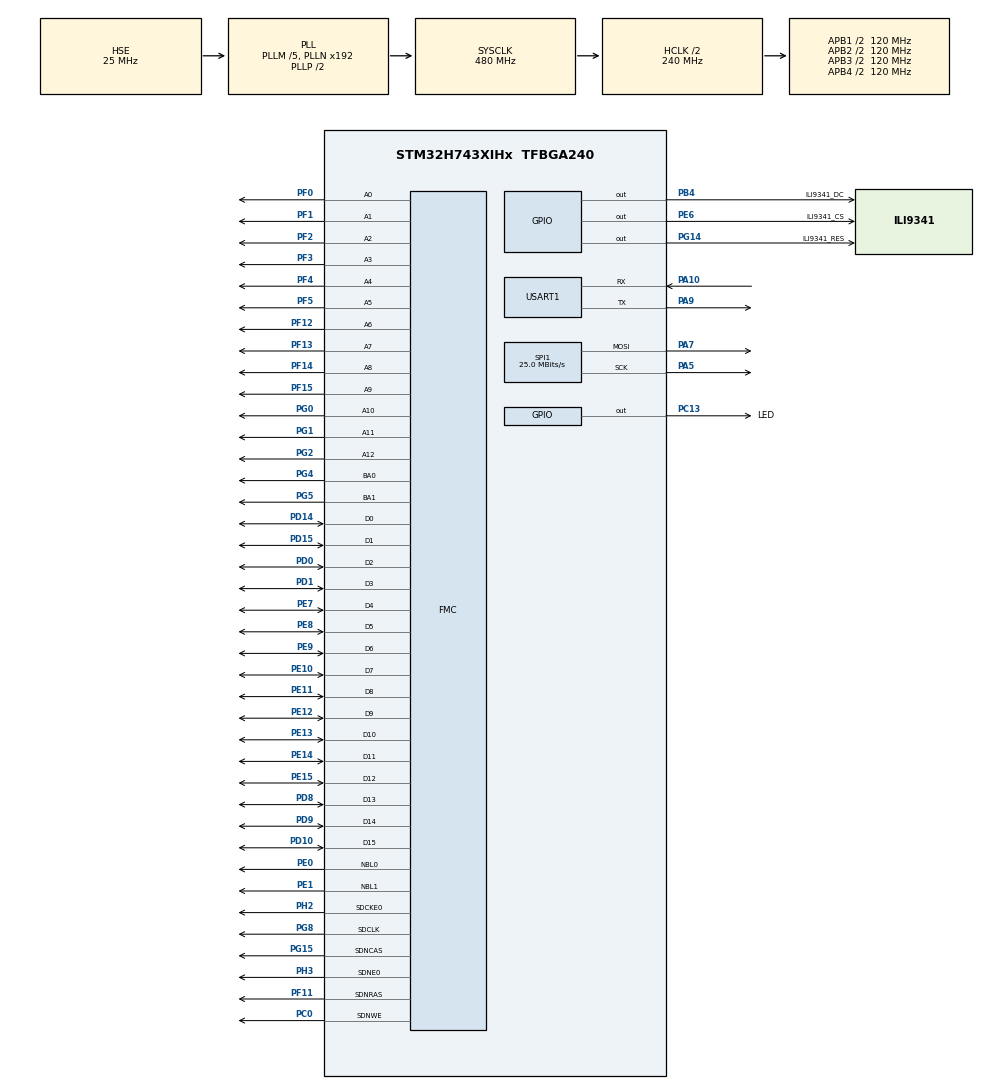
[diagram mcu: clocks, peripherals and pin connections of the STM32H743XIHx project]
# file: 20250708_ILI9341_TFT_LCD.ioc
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CORTEX_M7.AccessPermission_S-Cortex_Memory_Protection_Unit_Region4_Settings_S=MPU_REGION_FULL_ACCESS
CORTEX_M7.BaseAddress_S-Cortex_Memory_Protection_Unit_Region4_Settings_S=0xC0000000
CORTEX_M7.CPU_DCache=Enabled
CORTEX_M7.CPU_ICache=Enabled
CORTEX_M7.DisableExec_S-Cortex_Memory_Protection_Unit_Region4_Settings_S=MPU_INSTRUCTION_ACCESS_DISABLE
CORTEX_M7.Enable_S-Cortex_Memory_Protection_Unit_Region4_Settings_S=MPU_REGION_ENABLE
CORTEX_M7.IsShareable_S-Cortex_Memory_Protection_Unit_Region4_Settings_S=MPU_ACCESS_SHAREABLE
CORTEX_M7.Size_S-Cortex_Memory_Protection_Unit_Region4_Settings_S=MPU_REGION_SIZE_32MB
CORTEX_M7.TypeExtField_S-Cortex_Memory_Protection_Unit_Region4_Settings_S=MPU_TEX_LEVEL1
CORTEX_M7.default_mode_Activation=1
Dma.Request0=SPI1_TX
Dma.SPI1_TX.0.Direction=DMA_MEMORY_TO_PERIPH
Dma.SPI1_TX.0.EventEnable=DISABLE
Dma.SPI1_TX.0.FIFOMode=DMA_FIFOMODE_DISABLE
Dma.SPI1_TX.0.Instance=DMA1_Stream0
Dma.SPI1_TX.0.MemDataAlignment=DMA_MDATAALIGN_BYTE
Dma.SPI1_TX.0.MemInc=DMA_MINC_ENABLE
Dma.SPI1_TX.0.Mode=DMA_NORMAL
Dma.SPI1_TX.0.PeriphDataAlignment=DMA_PDATAALIGN_BYTE
Dma.SPI1_TX.0.PeriphInc=DMA_PINC_DISABLE
Dma.SPI1_TX.0.Polarity=HAL_DMAMUX_REQ_GEN_RISING
Dma.SPI1_TX.0.Priority=DMA_PRIORITY_HIGH
Dma.SPI1_TX.0.RequestNumber=1
Dma.SPI1_TX.0.SignalID=NONE
Dma.SPI1_TX.0.SyncEnable=DISABLE
Dma.SPI1_TX.0.SyncPolarity=HAL_DMAMUX_SYNC_NO_EVENT
Dma.SPI1_TX.0.SyncRequestNumber=1
Dma.SPI1_TX.0.SyncSignalID=NONE
FMC.CASLatency1=FMC_SDRAM_CAS_LATENCY_2
FMC.ColumnBitsNumber1=FMC_SDRAM_COLUMN_BITS_NUM_9
FMC.ExitSelfRefreshDelay1=9
FMC.LoadToActiveDelay1=2
FMC.RCDDelay1=3
FMC.RPDelay1=3
FMC.ReadBurst1=FMC_SDRAM_RBURST_ENABLE
FMC.RowCycleDelay1=8
FMC.SDClockPeriod1=FMC_SDRAM_CLOCK_PERIOD_2
FMC.SelfRefreshTime1=6
FMC.WriteRecoveryTime1=3
Mcu.Family=STM32H7
Mcu.Name=STM32H743XIHx
Mcu.Package=TFBGA240
NVIC.DMA1_Stream0_IRQn=true\:0\:0\:false\:false\:true\:false\:true\:true
NVIC.PriorityGroup=NVIC_PRIORITYGROUP_4
NVIC.SPI1_IRQn=true\:0\:0\:false\:false\:true\:false\:true\:true
PA10.Mode=Asynchronous
PA10.Signal=USART1_RX
PA13\ (JTMS/SWDIO).Mode=Serial_Wire
PA13\ (JTMS/SWDIO).Signal=DEBUG_JTMS-SWDIO
PA14\ (JTCK/SWCLK).Mode=Serial_Wire
PA14\ (JTCK/SWCLK).Signal=DEBUG_JTCK-SWCLK
PA5.Mode=TX_Only_Simplex_Unidirect_Master
PA5.Signal=SPI1_SCK
PA7.Mode=TX_Only_Simplex_Unidirect_Master
PA7.Signal=SPI1_MOSI
PA9.Mode=Asynchronous
PA9.Signal=USART1_TX
PB4\ (NJTRST).GPIO_Label=ILI9341_DC
PB4\ (NJTRST).Signal=GPIO_Output
PC0.Signal=FMC_SDNWE
PC13.GPIO_Label=LED
PC13.Signal=GPIO_Output
PD0.Signal=FMC_D2_DA2
PD1.Signal=FMC_D3_DA3
PD10.Signal=FMC_D15_DA15
PD14.Signal=FMC_D0_DA0
PD15.Signal=FMC_D1_DA1
PD8.Signal=FMC_D13_DA13
PD9.Signal=FMC_D14_DA14
PE0.Signal=FMC_NBL0
PE1.Signal=FMC_NBL1
PE10.Signal=FMC_D7_DA7
PE11.Signal=FMC_D8_DA8
PE12.Signal=FMC_D9_DA9
PE13.Signal=FMC_D10_DA10
PE14.Signal=FMC_D11_DA11
PE15.Signal=FMC_D12_DA12
PE6.GPIO_Label=ILI9341_CS
PE6.Signal=GPIO_Output
PE7.Signal=FMC_D4_DA4
PE8.Signal=FMC_D5_DA5
PE9.Signal=FMC_D6_DA6
PF0.Signal=FMC_A0
PF1.Signal=FMC_A1
PF11.Signal=FMC_SDNRAS
PF12.Signal=FMC_A6
PF13.Signal=FMC_A7
PF14.Signal=FMC_A8
PF15.Signal=FMC_A9
PF2.Signal=FMC_A2
PF3.Signal=FMC_A3
PF4.Signal=FMC_A4
PF5.Signal=FMC_A5
PG0.Signal=FMC_A10
PG1.Signal=FMC_A11
PG14.GPIO_Label=ILI9341_RES
PG14.Signal=GPIO_Output
PG15.Signal=FMC_SDNCAS
PG2.Signal=FMC_A12
PG4.Signal=FMC_A14_BA0
PG5.Signal=FMC_A15_BA1
PG8.Signal=FMC_SDCLK
PH0-OSC_IN\ (PH0).Mode=HSE-External-Oscillator
PH0-OSC_IN\ (PH0).Signal=RCC_OSC_IN
PH1-OSC_OUT\ (PH1).Mode=HSE-External-Oscillator
PH1-OSC_OUT\ (PH1).Signal=RCC_OSC_OUT
PH2.Mode=SdramChipSelect1_1
PH2.Signal=FMC_SDCKE0
PH3.Mode=SdramChipSelect1_1
PH3.Signal=FMC_SDNE0
ProjectManager.HeapSize=0x200
ProjectManager.StackSize=0x400
ProjectManager.TargetToolchain=STM32CubeIDE
RCC.ADCFreq_Value=50390625
RCC.APB1Freq_Value=120000000
RCC.APB2Freq_Value=120000000
RCC.APB3Freq_Value=120000000
RCC.APB4Freq_Value=120000000
RCC.CortexFreq_Value=480000000
RCC.D1PPRE=RCC_APB3_DIV2
RCC.D2PPRE1=RCC_APB1_DIV2
RCC.D2PPRE2=RCC_APB2_DIV2
RCC.D3PPRE=RCC_APB4_DIV2
RCC.DIVM1=5
RCC.DIVM3=25
RCC.DIVN1=192
RCC.DIVN3=200
RCC.HCLKFreq_Value=240000000
RCC.HPRE=RCC_HCLK_DIV2
RCC.PLLFRACN=0
RCC.PLLSourceVirtual=RCC_PLLSOURCE_HSE
RCC.SPI123CLockSelection=RCC_SPI123CLKSOURCE_PLL3
RCC.SYSCLKFreq_VALUE=480000000
RCC.SYSCLKSource=RCC_SYSCLKSOURCE_PLLCLK
RCC.USBFreq_Value=480000000
SH.FMC_A0.0=FMC_A0,13b-sda1
SH.FMC_A1.0=FMC_A1,13b-sda1
SH.FMC_A10.0=FMC_A10,13b-sda1
SH.FMC_A11.0=FMC_A11,13b-sda1
SH.FMC_A12.0=FMC_A12,13b-sda1
SH.FMC_A14_BA0.0=FMC_BA0,FourSdramBanks1
SH.FMC_A15_BA1.0=FMC_BA1,FourSdramBanks1
SH.FMC_A2.0=FMC_A2,13b-sda1
SH.FMC_A3.0=FMC_A3,13b-sda1
SH.FMC_A4.0=FMC_A4,13b-sda1
SH.FMC_A5.0=FMC_A5,13b-sda1
SH.FMC_A6.0=FMC_A6,13b-sda1
SH.FMC_A7.0=FMC_A7,13b-sda1
SH.FMC_A8.0=FMC_A8,13b-sda1
SH.FMC_A9.0=FMC_A9,13b-sda1
SH.FMC_D0_DA0.0=FMC_D0,sd-16b-d1
SH.FMC_D10_DA10.0=FMC_D10,sd-16b-d1
SH.FMC_D11_DA11.0=FMC_D11,sd-16b-d1
SH.FMC_D12_DA12.0=FMC_D12,sd-16b-d1
SH.FMC_D13_DA13.0=FMC_D13,sd-16b-d1
SH.FMC_D14_DA14.0=FMC_D14,sd-16b-d1
SH.FMC_D15_DA15.0=FMC_D15,sd-16b-d1
SH.FMC_D1_DA1.0=FMC_D1,sd-16b-d1
SH.FMC_D2_DA2.0=FMC_D2,sd-16b-d1
SH.FMC_D3_DA3.0=FMC_D3,sd-16b-d1
SH.FMC_D4_DA4.0=FMC_D4,sd-16b-d1
SH.FMC_D5_DA5.0=FMC_D5,sd-16b-d1
SH.FMC_D6_DA6.0=FMC_D6,sd-16b-d1
SH.FMC_D7_DA7.0=FMC_D7,sd-16b-d1
SH.FMC_D8_DA8.0=FMC_D8,sd-16b-d1
SH.FMC_D9_DA9.0=FMC_D9,sd-16b-d1
SH.FMC_NBL0.0=FMC_NBL0,Sd2ByteEnable1
SH.FMC_NBL1.0=FMC_NBL1,Sd2ByteEnable1
SH.FMC_SDCLK.0=FMC_SDCLK,13b-sda1
SH.FMC_SDNCAS.0=FMC_SDNCAS,13b-sda1
SH.FMC_SDNRAS.0=FMC_SDNRAS,13b-sda1
SH.FMC_SDNWE.0=FMC_SDNWE,13b-sda1
SPI1.BaudRatePrescaler=SPI_BAUDRATEPRESCALER_4
SPI1.CalculateBaudRate=25.0 MBits/s
SPI1.DataSize=SPI_DATASIZE_8BIT
SPI1.Direction=SPI_DIRECTION_2LINES_TXONLY
SPI1.Mode=SPI_MODE_MASTER
SPI1.NSSPMode=SPI_NSS_PULSE_DISABLE
SPI1.VirtualType=VM_MASTER
USART1.VirtualMode-Asynchronous=VM_ASYNC
VP_MEMORYMAP_VS_MEMORYMAP.Mode=CurAppReg
board=custom

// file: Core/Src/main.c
/* USER CODE BEGIN Header */
/**
  ******************************************************************************
  * @file           : main.c
  * @brief          : Main program body
  ******************************************************************************
  * @attention
  *
  * Copyright (c) 2025 STMicroelectronics.
  * All rights reserved.
  *
  * This software is licensed under terms that can be found in the LICENSE file
  * in the root directory of this software component.
  * If no LICENSE file comes with this software, it is provided AS-IS.
  *
  ******************************************************************************
  */
/* USER CODE END Header */
#include "main.h"
#include "dma.h"
#include "memorymap.h"
#include "spi.h"
#include "usart.h"
#include "gpio.h"
#include "fmc.h"

/* USER CODE BEGIN Includes */
#include <stdio.h>
#include "ili9341.h"
#include "fonts.h"
#include "testimg.h"
#include "pic_240x320.h"
#include "instagram_Logo.h"
#include "queue.h"
/* USER CODE END Includes */

/* USER CODE BEGIN PV */
bool SDRAM_initialize(void);
/* USER CODE END PV */

void SystemClock_Config(void);
static void MPU_Config(void);

/* USER CODE BEGIN 0 */
int __io_putchar(int ch)
{
	HAL_UART_Transmit(&huart1, (uint8_t *)&ch, 1, 1000);

	return ch;
}

//void HAL_SPI_TxCpltCallback(SPI_HandleTypeDef *hspi)
//{
//	if (hspi->Instance == SPI1) {
//		printf("DMA DONE\n");
//	}
//
//}

/* USER CODE END 0 */

int main(void)
{

  /* MPU Configuration--------------------------------------------------------*/
  MPU_Config();

  /* Enable the CPU Cache */

  /* Enable I-Cache---------------------------------------------------------*/
  SCB_EnableICache();

  /* Enable D-Cache---------------------------------------------------------*/
  SCB_EnableDCache();

  /* MCU Configuration--------------------------------------------------------*/

  /* Reset of all peripherals, Initializes the Flash interface and the Systick. */
  HAL_Init();

  /* USER CODE BEGIN Init */

  Que_Init(&LCD_Que, sizeof(LCD_Request_t));
  /* USER CODE END Init */

  /* Configure the system clock */
  SystemClock_Config();

  /* Initialize all configured peripherals */
  MX_GPIO_Init();
  MX_DMA_Init();
  MX_SPI1_Init();
  MX_USART1_UART_Init();
  MX_FMC_Init();
  /* USER CODE BEGIN 2 */
  SDRAM_initialize();
  ILI9341_Init();
  printf("Hello STM32!\n");

  uint8_t *sdramAddr = (uint32_t*) 0xC0000000;

  for(uint32_t i = 0; i<320*240*2; i++){
	  sdramAddr[i] = pic_240x320[i];
  }
//
//
//  for (int i = 0; i<100; i++)
//  {
//	  sdramAddr[i] = i;
//  }
//
//  for (int i = 0; i<100; i++)
//  {
//	  printf("sdramAddr[%d] = %d\n", i , sdramAddr[i]);
//  }

//  HAL_SPI_Transmit_DMA(&hspi1,IMG_icons8_instagram_logo_48, 100);
  /* USER CODE END 2 */

  /* Infinite loop */
  /* USER CODE BEGIN WHILE */
  while (1)
  {
	  HAL_GPIO_TogglePin(GPIOC, GPIO_PIN_13);
	  ILI9341_DrawImage8(0,0,240,320,(const uint8_t *)sdramAddr);
	  ILI9341_DrawImage((ILI9341_WIDTH - 240)/2, (ILI9341_WIDTH - 240)/2, 240, 240, (const uint16_t *)test_img_240x240);
	  ILI9341_DrawImage8((ILI9341_WIDTH - 120)/2, (ILI9341_HEIGHT - 160)/2, 48, 48, (const uint8_t *)IMG_icons8_instagram_logo_48);
	  ILI9341_DrawImage8(30, 50, 48, 48, (const uint8_t *)IMG_icons8_instagram_logo_48);
	  ILI9341_DrawImage8(70, 150, 48, 48, (const uint8_t *)IMG_icons8_instagram_logo_48);
	  HAL_Delay(5000);//	  ILI9341_WriteString(0, 200, "JAEHOON", Font_16x26, ILI9341_BLUE, ILI9341_BLACK);

    /* USER CODE END WHILE */

  }
}

void SystemClock_Config(void)
{
  RCC_OscInitTypeDef RCC_OscInitStruct = {0};
  RCC_ClkInitTypeDef RCC_ClkInitStruct = {0};

  /** Supply configuration update enable
  */
  HAL_PWREx_ConfigSupply(PWR_LDO_SUPPLY);

  /** Configure the main internal regulator output voltage
  */
  __HAL_PWR_VOLTAGESCALING_CONFIG(PWR_REGULATOR_VOLTAGE_SCALE0);

  while(!__HAL_PWR_GET_FLAG(PWR_FLAG_VOSRDY)) {}

  /** Initializes the RCC Oscillators according to the specified parameters
  * in the RCC_OscInitTypeDef structure.
  */
  RCC_OscInitStruct.OscillatorType = RCC_OSCILLATORTYPE_HSE;
  RCC_OscInitStruct.HSEState = RCC_HSE_ON;
  RCC_OscInitStruct.PLL.PLLState = RCC_PLL_ON;
  RCC_OscInitStruct.PLL.PLLSource = RCC_PLLSOURCE_HSE;
  RCC_OscInitStruct.PLL.PLLM = 5;
  RCC_OscInitStruct.PLL.PLLN = 192;
  RCC_OscInitStruct.PLL.PLLP = 2;
  RCC_OscInitStruct.PLL.PLLQ = 2;
  RCC_OscInitStruct.PLL.PLLR = 2;
  RCC_OscInitStruct.PLL.PLLRGE = RCC_PLL1VCIRANGE_2;
  RCC_OscInitStruct.PLL.PLLVCOSEL = RCC_PLL1VCOWIDE;
  RCC_OscInitStruct.PLL.PLLFRACN = 0;
  if (HAL_RCC_OscConfig(&RCC_OscInitStruct) != HAL_OK)
  {
    Error_Handler();
  }

  /** Initializes the CPU, AHB and APB buses clocks
  */
  RCC_ClkInitStruct.ClockType = RCC_CLOCKTYPE_HCLK|RCC_CLOCKTYPE_SYSCLK
                              |RCC_CLOCKTYPE_PCLK1|RCC_CLOCKTYPE_PCLK2
                              |RCC_CLOCKTYPE_D3PCLK1|RCC_CLOCKTYPE_D1PCLK1;
  RCC_ClkInitStruct.SYSCLKSource = RCC_SYSCLKSOURCE_PLLCLK;
  RCC_ClkInitStruct.SYSCLKDivider = RCC_SYSCLK_DIV1;
  RCC_ClkInitStruct.AHBCLKDivider = RCC_HCLK_DIV2;
  RCC_ClkInitStruct.APB3CLKDivider = RCC_APB3_DIV2;
  RCC_ClkInitStruct.APB1CLKDivider = RCC_APB1_DIV2;
  RCC_ClkInitStruct.APB2CLKDivider = RCC_APB2_DIV2;
  RCC_ClkInitStruct.APB4CLKDivider = RCC_APB4_DIV2;

  if (HAL_RCC_ClockConfig(&RCC_ClkInitStruct, FLASH_LATENCY_4) != HAL_OK)
  {
    Error_Handler();
  }
}

/* USER CODE BEGIN 4 */

bool SDRAM_initialize(void)
{
   SDRAM_HandleTypeDef *p_sdram  = &hsdram1;

   static FMC_SDRAM_CommandTypeDef Command;

   // Step 1: Configure a clock configuration enable command
   //
   Command.CommandMode            = FMC_SDRAM_CMD_CLK_ENABLE;
   Command.CommandTarget          = FMC_SDRAM_CMD_TARGET_BANK1;
   Command.AutoRefreshNumber      = 1;
   Command.ModeRegisterDefinition = 0;
   if(HAL_SDRAM_SendCommand(p_sdram, &Command, 1000) != HAL_OK)
   {
      return false;
   }

   // Step 2: Insert 100 us minimum delay */
   // Inserted delay is equal to 1 ms due to systick time base unit (ms)
   //
   HAL_Delay(1);

   // Step 3: Configure a PALL (precharge all) command
   //
   Command.CommandMode            = FMC_SDRAM_CMD_PALL;
   Command.CommandTarget          = FMC_SDRAM_CMD_TARGET_BANK1;
   Command.AutoRefreshNumber      = 1;
   Command.ModeRegisterDefinition = 0;
   if(HAL_SDRAM_SendCommand(p_sdram, &Command, 1000) != HAL_OK)
   {
      return false;
   }

   // Step 4: Configure a Refresh command
   //
   Command.CommandMode            = FMC_SDRAM_CMD_AUTOREFRESH_MODE;
   Command.CommandTarget          = FMC_SDRAM_CMD_TARGET_BANK1;
   Command.AutoRefreshNumber      = 8;
   Command.ModeRegisterDefinition = 0;
   if(HAL_SDRAM_SendCommand(p_sdram, &Command, 1000) != HAL_OK)
   {
      return false;
   }

   // Step 5: Program the external memory mode register
   //
   uint32_t mode_reg = 0;

   mode_reg |= (0 << 0); // Burst Length = 1
   mode_reg |= (0 << 3); // Burst Type
   //   0 : Sequential
   //   1 : Interleaved
   mode_reg |= (2 << 4); // CAS Latency Mode
   //   2 :
   //   3 :
   mode_reg |= (0 << 7); // Operation Mode
   mode_reg |= (1 << 9); // Write Burst Mode
   //   0 : Programmed Burst Length
   //   1 : Single Location Access

   Command.CommandMode            = FMC_SDRAM_CMD_LOAD_MODE;
   Command.CommandTarget          = FMC_SDRAM_CMD_TARGET_BANK1;
   Command.AutoRefreshNumber      = 1;
   Command.ModeRegisterDefinition = mode_reg;
   if(HAL_SDRAM_SendCommand(p_sdram, &Command, 1000) != HAL_OK)
   {
      return false;
   }

   // Step 6: Set the refresh rate counter
   //
   // refresh rate = (COUNT + 1) * SDRAM clock freq (94.4444Mhz)
   //
   // COUNT = (SDRAM refresh period/Number of rows) - 20
   //       = (64ms / 8192) - 20
   //       = 7.81us * 94.444 - 20 = 717
   uint32_t refresh_count = 917;

   if(HAL_SDRAM_ProgramRefreshRate(p_sdram, refresh_count) != HAL_OK)
   {
      return false;
   }

   return true;
}

/* USER CODE END 4 */

 /* MPU Configuration */

void MPU_Config(void)
{
  MPU_Region_InitTypeDef MPU_InitStruct = {0};

  /* Disables the MPU */
  HAL_MPU_Disable();

  /** Initializes and configures the Region and the memory to be protected
  */
  MPU_InitStruct.Enable = MPU_REGION_ENABLE;
  MPU_InitStruct.Number = MPU_REGION_NUMBER0;
  MPU_InitStruct.BaseAddress = 0x0;
  MPU_InitStruct.Size = MPU_REGION_SIZE_4GB;
  MPU_InitStruct.SubRegionDisable = 0x87;
  MPU_InitStruct.TypeExtField = MPU_TEX_LEVEL0;
  MPU_InitStruct.AccessPermission = MPU_REGION_NO_ACCESS;
  MPU_InitStruct.DisableExec = MPU_INSTRUCTION_ACCESS_DISABLE;
  MPU_InitStruct.IsShareable = MPU_ACCESS_SHAREABLE;
  MPU_InitStruct.IsCacheable = MPU_ACCESS_NOT_CACHEABLE;
  MPU_InitStruct.IsBufferable = MPU_ACCESS_NOT_BUFFERABLE;

  HAL_MPU_ConfigRegion(&MPU_InitStruct);

  /** Initializes and configures the Region and the memory to be protected
  */
  MPU_InitStruct.Number = MPU_REGION_NUMBER4;
  MPU_InitStruct.BaseAddress = 0xC0000000;
  MPU_InitStruct.Size = MPU_REGION_SIZE_32MB;
  MPU_InitStruct.SubRegionDisable = 0x0;
  MPU_InitStruct.TypeExtField = MPU_TEX_LEVEL1;
  MPU_InitStruct.AccessPermission = MPU_REGION_FULL_ACCESS;

  HAL_MPU_ConfigRegion(&MPU_InitStruct);
  /* Enables the MPU */
  HAL_MPU_Enable(MPU_PRIVILEGED_DEFAULT);

}

void Error_Handler(void)
{
  __disable_irq();
  while (1)
  {
  }
}
